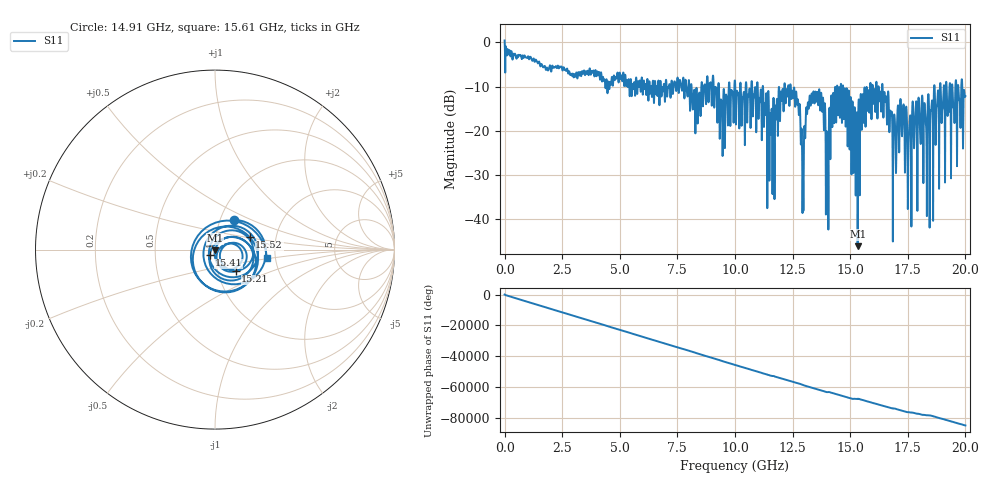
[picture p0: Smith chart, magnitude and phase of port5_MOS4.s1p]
! MS46122B
! 2250307/22442219
! 7/22/2025 3:19:34 PM
! C:\USERS\SPARKY\DOCUMENTS\VNA_DATA\JULY22_2025\295\PORT5_MOS4.S1P
! CHANNEL.1
! TR.MEASUREMENT
! RAW.DATA
# GHZ S RI R 50.0
! FREQ.GHZ  S11RE  S11IM
!; PortSelection: Port_1
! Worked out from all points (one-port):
!   10001 points, 1 MHz to 20 GHz, reference 50 ohm
!   lowest |S11| = -46.1 dB at 15.32 GHz (marker M1), VSWR 1.01, Z = 49.9 - j0.493 ohm
!   |S11| at or under -10 dB: 12.42 GHz to 14.43 GHz (2.008 GHz wide, 15 % of centre); 14.69 GHz to 15.86 GHz (1.173 GHz wide, 7.68 % of centre); 16.41 GHz to 18.64 GHz (2.237 GHz wide, 12.8 % of centre) (the widest 3 of 66)
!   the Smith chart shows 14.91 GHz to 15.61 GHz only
!   S11 on the Smith chart (normalised r, x): 14.91 GHz: 1.16, +0.40; 15.21 GHz: 1.22, -0.30; 15.41 GHz: 0.94, -0.06; 15.52 GHz: 1.46, +0.21; 15.61 GHz: 1.80, -0.18
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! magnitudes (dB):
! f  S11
! 1 MHz  0.4
! 2.501 GHz  -6.1
! 5.001 GHz  -6.9
! 7.501 GHz  -8.1
! 8.979 GHz  -12.3
! 9.407 GHz  -13.1
! 10 GHz  -8.8
! 11.04 GHz  -13.2
! 11.56 GHz  -19.7
! 12.5 GHz  -11.3
! 12.74 GHz  -13.1
! 12.95 GHz  -30.8
! 13.33 GHz  -11.6
! 13.74 GHz  -11.4
! 14.04 GHz  -26.4
! 14.27 GHz  -11.4
! 14.91 GHz  -14.2
! 15 GHz  -14.0
! 15.21 GHz  -15.6
! 15.32 GHz  -46.1
! 15.41 GHz  -27.2
! 15.52 GHz  -13.7
! 15.61 GHz  -10.7
! 16.31 GHz  -11.5
! 16.93 GHz  -16.8
! 17.25 GHz  -21.2
! 17.5 GHz  -36.5
! 20 GHz  -12.2
